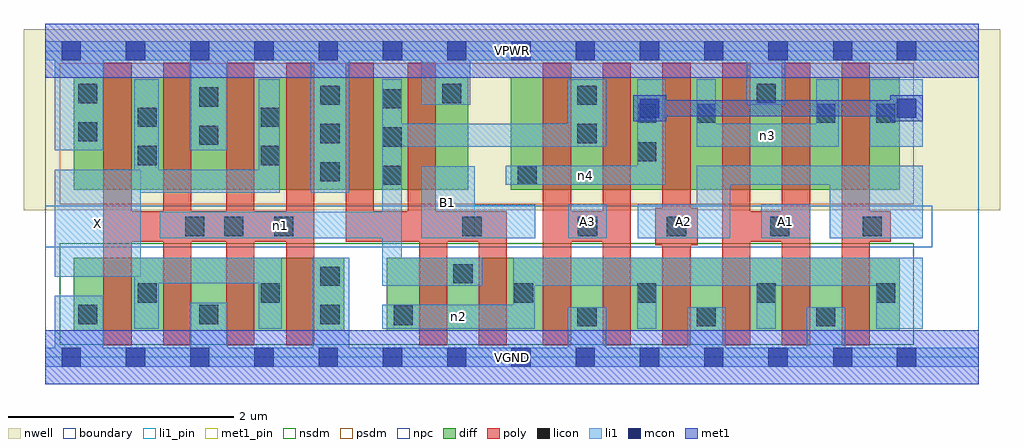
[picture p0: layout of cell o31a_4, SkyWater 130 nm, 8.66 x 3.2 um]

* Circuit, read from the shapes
.subckt o31a_4 A1 A2 A3 B1 VGND VPWR X n1 n2 n3 n4
XM1 X n1 VGND VSUBS sky130_fd_pr__nfet_01v8 w=0.65 l=0.25 m=4
XM2 n1 B1 n2 VSUBS sky130_fd_pr__nfet_01v8 w=0.65 l=0.25 m=2
XM3 VGND A3 n2 VSUBS sky130_fd_pr__nfet_01v8 w=0.65 l=0.25 m=2
XM4 VGND A2 n2 VSUBS sky130_fd_pr__nfet_01v8 w=0.65 l=0.25 m=2
XM5 n2 A1 VGND VSUBS sky130_fd_pr__nfet_01v8 w=0.65 l=0.25 m=2
XM6 X n1 VPWR n5 sky130_fd_pr__pfet_01v8 w=1 l=0.25 m=4
XM7 n1 B1 VPWR n5 sky130_fd_pr__pfet_01v8 w=1 l=0.25 m=2
XM8 n1 A3 n4 n5 sky130_fd_pr__pfet_01v8 w=1 l=0.25 m=2
XM9 n3 A2 n4 n5 sky130_fd_pr__pfet_01v8 w=1 l=0.25 m=2
XM10 VPWR A1 n3 n5 sky130_fd_pr__pfet_01v8 w=1 l=0.25 m=2
.ends

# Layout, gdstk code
import gdstk
lib = gdstk.Library(unit=1e-6, precision=1e-09)
def R(c, l, rs):  # rectangles x0, y0, x1, y1
    for r in rs: c.add(gdstk.rectangle(r[:2], r[2:], *l))
def A(c, l, x, y, w, h, nx, ny, dx, dy):  # array of equal rectangles
    R(c, l, [(x+i*dx, y+j*dy, x+i*dx+w, y+j*dy+h) for i in range(nx) for j in range(ny)])
nwell = (64, 20)
diff = (65, 20)
poly = (66, 20)
licon = (66, 44)
li1_pin = (67, 16)
li1 = (67, 20)
mcon = (67, 44)
met1_pin = (68, 16)
met1 = (68, 20)
nsdm = (93, 44)
psdm = (94, 20)
npc = (95, 20)
boundary = (235, 4)

o31a_4 = lib.new_cell('o31a_4')
R(o31a_4, nwell, [(-0.19,1.305,8.47,2.91), (0,1.305,8.28,2.91)])
R(o31a_4, diff, [(0.25,0.235,2.65,0.885), (3.03,0.235,7.58,0.885), (0.25,1.485,3.75,2.485), (4.13,1.485,7.58,2.485)])
A(o31a_4, poly, 4.415, 0.105, 0.25, 2.51, 6, 1, 0.53, 0)
R(o31a_4, poly, [(0.515,0.105,0.765,2.615), (1.045,0.105,1.295,2.615), (1.605,0.105,1.855,2.615), (2.135,0.105,2.385,2.615), (3.315,0.105,3.565,1.295), (3.845,0.105,4.095,1.295), (5.41,0.995,5.79,1.325), (0.515,1.025,2.385,1.295), (2.665,1.025,4.095,1.295), (2.665,1.025,2.915,2.615), (3.215,1.025,3.465,2.615), (4.415,1.025,5.195,1.295), (6.005,1.025,6.785,1.295), (7.065,1.025,7.5,1.295)])
A(o31a_4, licon, 4.72, 0.275, 0.17, 0.17, 3, 1, 1.06, 0)
A(o31a_4, licon, 0.29, 0.295, 0.17, 0.17, 3, 1, 1.075, 0)
A(o31a_4, licon, 5.25, 0.485, 0.17, 0.17, 3, 1, 1.06, 0)
A(o31a_4, licon, 2.99, 1.53, 0.17, 0.17, 1, 3, 0, 0.34)
A(o31a_4, licon, 2.44, 1.56, 0.17, 0.17, 1, 3, 0, 0.34)
R(o31a_4, licon, [(3.09,0.285,3.26,0.455), (0.82,0.485,0.99,0.655), (1.91,0.485,2.08,0.655), (4.16,0.485,4.33,0.655), (2.44,0.635,2.61,0.805), (3.62,0.655,3.79,0.825), (1.24,1.075,1.41,1.245), (1.585,1.075,1.755,1.245), (2.03,1.075,2.2,1.245), (3.7,1.075,3.87,1.245), (4.725,1.075,4.895,1.245), (5.515,1.075,5.685,1.245), (6.43,1.075,6.6,1.245), (7.25,1.075,7.42,1.245), (4.19,1.53,4.36,1.7), (0.82,1.705,0.99,1.875), (1.91,1.705,2.08,1.875), (5.25,1.74,5.42,1.91), (1.365,1.885,1.535,2.055), (4.72,1.9,4.89,2.07), (0.29,1.915,0.46,2.085), (0.82,2.045,0.99,2.215), (1.91,2.045,2.08,2.215), (5.25,2.08,5.42,2.25), (5.78,2.08,5.95,2.25), (6.84,2.08,7.01,2.25), (7.37,2.08,7.54,2.25), (1.365,2.225,1.535,2.395), (4.72,2.24,4.89,2.41), (0.29,2.255,0.46,2.425), (3.52,2.255,3.69,2.425), (6.31,2.255,6.48,2.425)])
R(o31a_4, li1_pin, [(0.085,0.715,0.845,1.665), (3.335,1.055,3.81,1.695), (4.64,1.055,4.98,1.36), (5.255,1.055,6.075,1.36), (6.35,1.055,6.785,1.36)])
A(o31a_4, li1, 4.635, -0.085, 0.34, 0.53, 3, 1, 1.06, 0)
R(o31a_4, li1, [(0,-0.085,8.28,0.085), (0.085,-0.085,0.515,0.545), (1.28,-0.085,1.62,0.485), (2.37,-0.085,2.695,0.885), (0.79,0.255,1.005,0.885), (1.895,0.255,2.095,0.885), (2.99,0.255,4.34,0.465), (4.15,0.255,4.34,0.885), (5.25,0.255,5.42,0.885), (6.31,0.255,6.48,0.885), (7.37,0.255,7.785,0.885), (2.99,0.635,3.16,2.465), (2.99,0.635,3.875,0.885), (4.15,0.635,7.785,0.885), (0.79,0.655,2.095,0.885), (0.085,0.715,0.845,1.665), (1.015,1.055,3.16,1.29), (3.335,1.055,4.345,1.355), (3.335,1.055,3.81,1.695), (4.64,1.055,4.98,1.36), (5.255,1.055,6.075,1.36), (5.78,1.055,6.075,1.7), (6.35,1.055,6.785,1.36), (6.96,1.055,7.785,1.7), (0.085,1.46,2.08,1.665), (0.79,1.46,1.005,2.465), (1.895,1.46,2.08,2.465), (2.355,1.46,2.695,2.805), (4.085,1.53,5.505,1.7), (5.25,1.53,5.505,2.465), (5.78,1.53,7.785,1.7), (0.085,1.835,0.515,2.805), (1.28,1.835,1.62,2.805), (2.99,1.87,4.975,2.07), (4.635,1.87,4.975,2.465), (5.78,1.87,7.04,2.07), (5.78,1.87,5.95,2.465), (6.84,1.87,7.04,2.465), (7.315,1.87,7.785,2.465), (3.335,2.24,3.77,2.805), (6.225,2.24,6.565,2.805), (0,2.635,8.28,2.805)])
A(o31a_4, mcon, 0.145, -0.085, 0.17, 0.17, 12, 2, 0.57, 2.72)
R(o31a_4, mcon, [(6.99,-0.085,7.16,0.085), (7.555,-0.085,7.725,0.085), (5.275,2.125,5.445,2.295), (7.555,2.125,7.725,2.295), (6.99,2.635,7.16,2.805), (7.555,2.635,7.725,2.805)])
R(o31a_4, met1_pin, [(0,-0.24,8.28,0.24), (0,2.48,8.28,2.96)])
R(o31a_4, met1, [(0,-0.24,8.28,0.24), (5.215,2.095,5.51,2.325), (7.495,2.095,7.785,2.325), (5.215,2.14,7.785,2.28), (0,2.48,8.28,2.96)])
R(o31a_4, nsdm, [(0.125,0.11,7.705,1.01)])
R(o31a_4, psdm, [(0.125,1.36,7.705,2.61)])
R(o31a_4, npc, [(0,0.975,7.87,1.345)])
R(o31a_4, boundary, [(0,0,8.28,2.72)])
o31a_4.add(gdstk.Label('A1', (6.567,1.207), layer=67, texttype=5))
o31a_4.add(gdstk.Label('A2', (5.665,1.207), layer=67, texttype=5))
o31a_4.add(gdstk.Label('A3', (4.81,1.207), layer=67, texttype=5))
o31a_4.add(gdstk.Label('B1', (3.572,1.375), layer=67, texttype=5))
o31a_4.add(gdstk.Label('X', (0.465,1.19), layer=67, texttype=5))
o31a_4.add(gdstk.Label('n2', (3.665,0.36), layer=67, texttype=5))
o31a_4.add(gdstk.Label('n1', (2.087,1.172), layer=67, texttype=5))
o31a_4.add(gdstk.Label('n4', (4.795,1.615), layer=67, texttype=5))
o31a_4.add(gdstk.Label('n3', (6.41,1.97), layer=67, texttype=5))
o31a_4.add(gdstk.Label('VPWR', (4.14,2.72), layer=68, texttype=5))
o31a_4.add(gdstk.Label('VGND', (4.14,0), layer=68, texttype=5))
o31a_4.add(gdstk.Label('A1', (6.567,1.207), layer=67, texttype=16))
o31a_4.add(gdstk.Label('A2', (5.665,1.207), layer=67, texttype=16))
o31a_4.add(gdstk.Label('A3', (4.81,1.207), layer=67, texttype=16))
o31a_4.add(gdstk.Label('B1', (3.572,1.375), layer=67, texttype=16))
o31a_4.add(gdstk.Label('X', (0.465,1.19), layer=67, texttype=16))
o31a_4.add(gdstk.Label('VPWR', (4.14,2.72), layer=68, texttype=16))
o31a_4.add(gdstk.Label('VGND', (4.14,0), layer=68, texttype=16))

lib.write_gds('o31a_4.gds')
